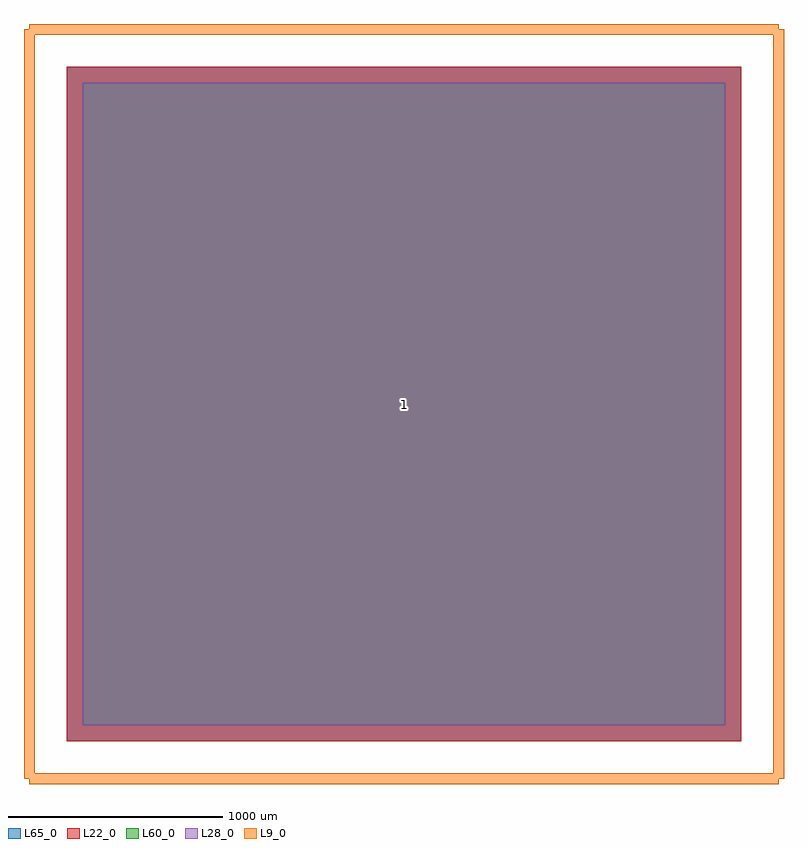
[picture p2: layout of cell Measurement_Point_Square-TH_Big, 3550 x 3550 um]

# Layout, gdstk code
import gdstk
lib = gdstk.Library(unit=1e-6, precision=1e-09)
def R(c, l, rs):  # rectangles x0, y0, x1, y1
    for r in rs: c.add(gdstk.rectangle(r[:2], r[2:], *l))
L9_0 = (9, 0)
L22_0 = (22, 0)
L28_0 = (28, 0)
L60_0 = (60, 0)
L65_0 = (65, 0)

measurement_point_square = lib.new_cell('Measurement_Point_Square-TH_Big')
R(measurement_point_square, L22_0, [(-1575,-1575,1575,1575)])
R(measurement_point_square, L28_0, [(-1500,-1500,1500,1500)])
R(measurement_point_square, L60_0, [(-1500,-1500,1500,1500)])
R(measurement_point_square, L65_0, [(-1575,-1575,1575,1575)])
measurement_point_square.add(gdstk.FlexPath([(-1750,-1750),(-1750,1750)], 50, ends="flush", simple_path=True, layer=9, datatype=0))  # L9_0
measurement_point_square.add(gdstk.FlexPath([(1750,-1750),(-1750,-1750)], 50, ends="flush", simple_path=True, layer=9, datatype=0))  # L9_0
measurement_point_square.add(gdstk.FlexPath([(1750,1750),(1750,-1750)], 50, ends="flush", simple_path=True, layer=9, datatype=0))  # L9_0
measurement_point_square.add(gdstk.FlexPath([(-1750,1750),(1750,1750)], 50, ends="flush", simple_path=True, layer=9, datatype=0))  # L9_0
measurement_point_square.add(gdstk.Label('1', (0,0), layer=28, texttype=0))
measurement_point_square.add(gdstk.Label('type', (0,-3000), layer=9, texttype=0))
measurement_point_square.add(gdstk.Label('devicename', (0,3000), layer=9, texttype=0))

lib.write_gds('Measurement_Point_Square-TH_Big.gds')
